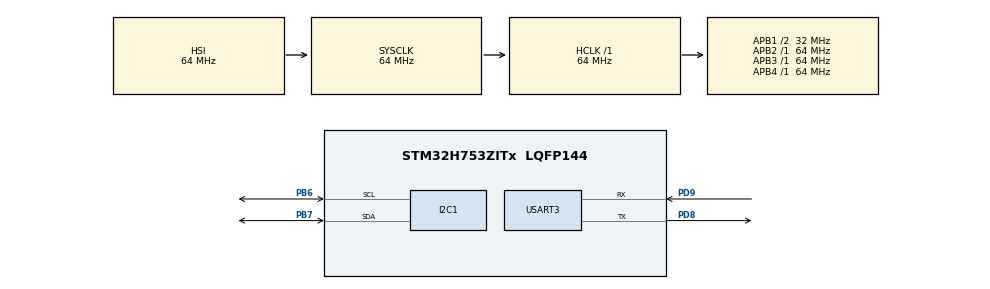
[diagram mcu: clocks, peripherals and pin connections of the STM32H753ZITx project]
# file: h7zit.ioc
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CORTEX_M7.AccessPermission_S-Cortex_Memory_Protection_Unit_Region1_Settings_S=MPU_REGION_FULL_ACCESS
CORTEX_M7.BaseAddress_S-Cortex_Memory_Protection_Unit_Region1_Settings_S=0x30001000
CORTEX_M7.CPU_DCache=Enabled
CORTEX_M7.CPU_ICache=Enabled
CORTEX_M7.DisableExec_S-Cortex_Memory_Protection_Unit_Region1_Settings_S=MPU_INSTRUCTION_ACCESS_DISABLE
CORTEX_M7.Enable_S-Cortex_Memory_Protection_Unit_Region1_Settings_S=MPU_REGION_ENABLE
CORTEX_M7.IsShareable_S-Cortex_Memory_Protection_Unit_Region1_Settings_S=MPU_ACCESS_SHAREABLE
CORTEX_M7.default_mode_Activation=1
Dma.I2C1_RX.0.Direction=DMA_PERIPH_TO_MEMORY
Dma.I2C1_RX.0.EventEnable=DISABLE
Dma.I2C1_RX.0.FIFOMode=DMA_FIFOMODE_DISABLE
Dma.I2C1_RX.0.Instance=DMA1_Stream0
Dma.I2C1_RX.0.MemDataAlignment=DMA_MDATAALIGN_BYTE
Dma.I2C1_RX.0.MemInc=DMA_MINC_ENABLE
Dma.I2C1_RX.0.Mode=DMA_NORMAL
Dma.I2C1_RX.0.PeriphDataAlignment=DMA_PDATAALIGN_BYTE
Dma.I2C1_RX.0.PeriphInc=DMA_PINC_DISABLE
Dma.I2C1_RX.0.Polarity=HAL_DMAMUX_REQ_GEN_RISING
Dma.I2C1_RX.0.Priority=DMA_PRIORITY_LOW
Dma.I2C1_RX.0.RequestNumber=1
Dma.I2C1_RX.0.SignalID=NONE
Dma.I2C1_RX.0.SyncEnable=DISABLE
Dma.I2C1_RX.0.SyncPolarity=HAL_DMAMUX_SYNC_NO_EVENT
Dma.I2C1_RX.0.SyncRequestNumber=1
Dma.I2C1_RX.0.SyncSignalID=NONE
Dma.I2C1_TX.1.Direction=DMA_MEMORY_TO_PERIPH
Dma.I2C1_TX.1.EventEnable=DISABLE
Dma.I2C1_TX.1.FIFOMode=DMA_FIFOMODE_DISABLE
Dma.I2C1_TX.1.Instance=DMA1_Stream1
Dma.I2C1_TX.1.MemDataAlignment=DMA_MDATAALIGN_BYTE
Dma.I2C1_TX.1.MemInc=DMA_MINC_ENABLE
Dma.I2C1_TX.1.Mode=DMA_NORMAL
Dma.I2C1_TX.1.PeriphDataAlignment=DMA_PDATAALIGN_BYTE
Dma.I2C1_TX.1.PeriphInc=DMA_PINC_DISABLE
Dma.I2C1_TX.1.Polarity=HAL_DMAMUX_REQ_GEN_RISING
Dma.I2C1_TX.1.Priority=DMA_PRIORITY_LOW
Dma.I2C1_TX.1.RequestNumber=1
Dma.I2C1_TX.1.SignalID=NONE
Dma.I2C1_TX.1.SyncEnable=DISABLE
Dma.I2C1_TX.1.SyncPolarity=HAL_DMAMUX_SYNC_NO_EVENT
Dma.I2C1_TX.1.SyncRequestNumber=1
Dma.I2C1_TX.1.SyncSignalID=NONE
Dma.Request0=I2C1_RX
Dma.Request1=I2C1_TX
I2C1.Timing=0x00707CBB
Mcu.Family=STM32H7
Mcu.Name=STM32H753ZITx
Mcu.Package=LQFP144
NVIC.DMA1_Stream0_IRQn=true\:0\:0\:false\:false\:true\:false\:true\:true
NVIC.DMA1_Stream1_IRQn=true\:0\:0\:false\:false\:true\:false\:true\:true
NVIC.I2C1_ER_IRQn=true\:0\:0\:false\:false\:true\:true\:true\:true
NVIC.I2C1_EV_IRQn=true\:0\:0\:false\:false\:true\:true\:true\:true
NVIC.PriorityGroup=NVIC_PRIORITYGROUP_4
PB6.GPIO_Pu=GPIO_PULLUP
PB6.Mode=I2C
PB6.Signal=I2C1_SCL
PB7.GPIO_Pu=GPIO_PULLUP
PB7.Mode=I2C
PB7.Signal=I2C1_SDA
PD8.Mode=Asynchronous
PD8.Signal=USART3_TX
PD9.Mode=Asynchronous
PD9.Signal=USART3_RX
ProjectManager.HeapSize=0x200
ProjectManager.StackSize=0x400
ProjectManager.TargetToolchain=CMake
RCC.ADCFreq_Value=129000000
RCC.APB1Freq_Value=32000000
RCC.APB2Freq_Value=64000000
RCC.APB3Freq_Value=64000000
RCC.APB4Freq_Value=64000000
RCC.CortexFreq_Value=64000000
RCC.D2PPRE1=RCC_APB1_DIV2
RCC.HCLKFreq_Value=64000000
RCC.SYSCLKFreq_VALUE=64000000
RCC.USBFreq_Value=129000000
USART3.VirtualMode-Asynchronous=VM_ASYNC
VP_MEMORYMAP_VS_MEMORYMAP.Mode=CurAppReg
board=custom

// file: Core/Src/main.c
/* USER CODE BEGIN Header */
/**
  ******************************************************************************
  * @file           : main.c
  * @brief          : Main program body
  ******************************************************************************
  * @attention
  *
  * Copyright (c) 2026 STMicroelectronics.
  * All rights reserved.
  *
  * This software is licensed under terms that can be found in the LICENSE file
  * in the root directory of this software component.
  * If no LICENSE file comes with this software, it is provided AS-IS.
  *
  ******************************************************************************
  */
/* USER CODE END Header */
#include "main.h"

/* USER CODE BEGIN Includes */
#include <stdio.h>
/* USER CODE END Includes */

/* USER CODE BEGIN PD */
#define MCP9600_ADDR                (0x60 << 1)
#define MCP9600_REG_HOT_JUNCTION    0x00
#define MCP9600_REG_SENSOR_CONFIG   0x05

//thermocouple types
#define MCP9600_TYPE_K  (0x00 << 1)
#define MCP9600_TYPE_J  (0x01 << 1)
#define MCP9600_TYPE_T  (0x02 << 1)
#define MCP9600_TYPE_N  (0x03 << 1)
#define MCP9600_TYPE_S  (0x04 << 1)
#define MCP9600_TYPE_E  (0x05 << 1)
#define MCP9600_TYPE_B  (0x06 << 1)
#define MCP9600_TYPE_R  (0x07 << 1)
/* USER CODE END PD */

I2C_HandleTypeDef hi2c1;
DMA_HandleTypeDef hdma_i2c1_rx;
DMA_HandleTypeDef hdma_i2c1_tx;

UART_HandleTypeDef huart3;

/* USER CODE BEGIN PV */
[[gnu::section(".I2C_RAW")]]  uint32_t rx_data;   // Reserves 32 bits for rx_data
volatile uint8_t              dma_done = 0;       // Initializes dma_done to 0 (false)
/* USER CODE END PV */

void SystemClock_Config(void);
static void MPU_Config(void);
static void MX_GPIO_Init(void);
static void MX_DMA_Init(void);
static void MX_I2C1_Init(void);
static void MX_USART3_UART_Init(void);

int main(void)
{

  /* MPU Configuration--------------------------------------------------------*/
  MPU_Config();

  /* Enable the CPU Cache */

  /* Enable I-Cache---------------------------------------------------------*/
  SCB_EnableICache();

  /* Enable D-Cache---------------------------------------------------------*/
  SCB_EnableDCache();

  /* MCU Configuration--------------------------------------------------------*/

  /* Reset of all peripherals, Initializes the Flash interface and the Systick. */
  HAL_Init();

  /* Configure the system clock */
  SystemClock_Config();

  /* Initialize all configured peripherals */
  MX_GPIO_Init();
  MX_DMA_Init();
  MX_I2C1_Init();
  MX_USART3_UART_Init();
  /* USER CODE BEGIN 2 */
  HAL_StatusTypeDef status;
  uint8_t sensor_cfg[2]       = { MCP9600_REG_SENSOR_CONFIG, MCP9600_TYPE_T };
  // USER CODE DEBUG
  // Checks I2C transmit status
  HAL_StatusTypeDef tx_status = HAL_I2C_Master_Transmit(&hi2c1, MCP9600_ADDR, sensor_cfg, 2, HAL_MAX_DELAY);
  printf("TX status: %d\r\n", tx_status);           // 0=OK, 1=ERROR, 2=BUSY, 3=TIMEOUT
  // Checks DMA status
  HAL_StatusTypeDef dma_status = HAL_I2C_Mem_Read_DMA(&hi2c1, MCP9600_ADDR, MCP9600_REG_HOT_JUNCTION,
                                           I2C_MEMADD_SIZE_8BIT, (uint8_t*) &rx_data, 2);
  printf("DMA start status: %d\r\n", dma_status);   // 0=OK, 1=ERROR, 2=BUSY, 3=TIMEOUT

  /* USER CODE END 2 */

  /* Infinite loop */
  /* USER CODE BEGIN WHILE */
  while (1){
    if (dma_done){
      dma_done = 0;
      SCB_InvalidateDCache_by_Addr((uint32_t*)&rx_data, sizeof(rx_data));
      uint8_t* byte_data = (uint8_t*) &rx_data;

      int16_t raw = (int16_t)((byte_data[0] << 8) | byte_data[1]);
      int abs_raw = (raw < 0) ? -raw : raw;
      const char *sign = (raw < 0) ? "-" : "";
      int whole = abs_raw >> 4;
      int frac  = (abs_raw & 0x0F) * 625;

      printf("Temp: %s%d.%04d C\r\n", sign, whole, frac);

      HAL_Delay(1000);

      status = HAL_I2C_Mem_Read_DMA(&hi2c1, MCP9600_ADDR, MCP9600_REG_HOT_JUNCTION,
      I2C_MEMADD_SIZE_8BIT, (uint8_t*) &rx_data, 2);
    }
    else
    {
      printf("Waiting for DMA...\r\n");
      if (status != HAL_OK)
      {
        printf("HAL STATUS: %d", status);
      }
    }
    /* USER CODE END WHILE */

  }
}

void SystemClock_Config(void)
{
  RCC_OscInitTypeDef RCC_OscInitStruct = {0};
  RCC_ClkInitTypeDef RCC_ClkInitStruct = {0};

  /** Supply configuration update enable
  */
  HAL_PWREx_ConfigSupply(PWR_LDO_SUPPLY);

  /** Configure the main internal regulator output voltage
  */
  __HAL_PWR_VOLTAGESCALING_CONFIG(PWR_REGULATOR_VOLTAGE_SCALE3);

  while(!__HAL_PWR_GET_FLAG(PWR_FLAG_VOSRDY)) {}

  /** Initializes the RCC Oscillators according to the specified parameters
  * in the RCC_OscInitTypeDef structure.
  */
  RCC_OscInitStruct.OscillatorType = RCC_OSCILLATORTYPE_HSI;
  RCC_OscInitStruct.HSIState = RCC_HSI_DIV1;
  RCC_OscInitStruct.HSICalibrationValue = RCC_HSICALIBRATION_DEFAULT;
  RCC_OscInitStruct.PLL.PLLState = RCC_PLL_NONE;
  if (HAL_RCC_OscConfig(&RCC_OscInitStruct) != HAL_OK)
  {
    Error_Handler();
  }

  /** Initializes the CPU, AHB and APB buses clocks
  */
  RCC_ClkInitStruct.ClockType = RCC_CLOCKTYPE_HCLK|RCC_CLOCKTYPE_SYSCLK
                              |RCC_CLOCKTYPE_PCLK1|RCC_CLOCKTYPE_PCLK2
                              |RCC_CLOCKTYPE_D3PCLK1|RCC_CLOCKTYPE_D1PCLK1;
  RCC_ClkInitStruct.SYSCLKSource = RCC_SYSCLKSOURCE_HSI;
  RCC_ClkInitStruct.SYSCLKDivider = RCC_SYSCLK_DIV1;
  RCC_ClkInitStruct.AHBCLKDivider = RCC_HCLK_DIV1;
  RCC_ClkInitStruct.APB3CLKDivider = RCC_APB3_DIV1;
  RCC_ClkInitStruct.APB1CLKDivider = RCC_APB1_DIV2;
  RCC_ClkInitStruct.APB2CLKDivider = RCC_APB2_DIV1;
  RCC_ClkInitStruct.APB4CLKDivider = RCC_APB4_DIV1;

  if (HAL_RCC_ClockConfig(&RCC_ClkInitStruct, FLASH_LATENCY_1) != HAL_OK)
  {
    Error_Handler();
  }
}

static void MX_I2C1_Init(void)
{

  hi2c1.Instance = I2C1;
  hi2c1.Init.Timing = 0x00707CBB;
  hi2c1.Init.OwnAddress1 = 0;
  hi2c1.Init.AddressingMode = I2C_ADDRESSINGMODE_7BIT;
  hi2c1.Init.DualAddressMode = I2C_DUALADDRESS_DISABLE;
  hi2c1.Init.OwnAddress2 = 0;
  hi2c1.Init.OwnAddress2Masks = I2C_OA2_NOMASK;
  hi2c1.Init.GeneralCallMode = I2C_GENERALCALL_DISABLE;
  hi2c1.Init.NoStretchMode = I2C_NOSTRETCH_DISABLE;
  if (HAL_I2C_Init(&hi2c1) != HAL_OK)
  {
    Error_Handler();
  }

  /** Configure Analogue filter
  */
  if (HAL_I2CEx_ConfigAnalogFilter(&hi2c1, I2C_ANALOGFILTER_ENABLE) != HAL_OK)
  {
    Error_Handler();
  }

  /** Configure Digital filter
  */
  if (HAL_I2CEx_ConfigDigitalFilter(&hi2c1, 0) != HAL_OK)
  {
    Error_Handler();
  }

}

static void MX_USART3_UART_Init(void)
{

  huart3.Instance = USART3;
  huart3.Init.BaudRate = 115200;
  huart3.Init.WordLength = UART_WORDLENGTH_8B;
  huart3.Init.StopBits = UART_STOPBITS_1;
  huart3.Init.Parity = UART_PARITY_NONE;
  huart3.Init.Mode = UART_MODE_TX_RX;
  huart3.Init.HwFlowCtl = UART_HWCONTROL_NONE;
  huart3.Init.OverSampling = UART_OVERSAMPLING_16;
  huart3.Init.OneBitSampling = UART_ONE_BIT_SAMPLE_DISABLE;
  huart3.Init.ClockPrescaler = UART_PRESCALER_DIV1;
  huart3.AdvancedInit.AdvFeatureInit = UART_ADVFEATURE_NO_INIT;
  if (HAL_UART_Init(&huart3) != HAL_OK)
  {
    Error_Handler();
  }
  if (HAL_UARTEx_SetTxFifoThreshold(&huart3, UART_TXFIFO_THRESHOLD_1_8) != HAL_OK)
  {
    Error_Handler();
  }
  if (HAL_UARTEx_SetRxFifoThreshold(&huart3, UART_RXFIFO_THRESHOLD_1_8) != HAL_OK)
  {
    Error_Handler();
  }
  if (HAL_UARTEx_DisableFifoMode(&huart3) != HAL_OK)
  {
    Error_Handler();
  }

}

static void MX_DMA_Init(void)
{

  /* DMA controller clock enable */
  __HAL_RCC_DMA1_CLK_ENABLE();

  /* DMA interrupt init */
  /* DMA1_Stream0_IRQn interrupt configuration */
  HAL_NVIC_SetPriority(DMA1_Stream0_IRQn, 0, 0);
  HAL_NVIC_EnableIRQ(DMA1_Stream0_IRQn);
  /* DMA1_Stream1_IRQn interrupt configuration */
  HAL_NVIC_SetPriority(DMA1_Stream1_IRQn, 0, 0);
  HAL_NVIC_EnableIRQ(DMA1_Stream1_IRQn);

}

static void MX_GPIO_Init(void)
{

  /* GPIO Ports Clock Enable */
  __HAL_RCC_GPIOD_CLK_ENABLE();
  __HAL_RCC_GPIOB_CLK_ENABLE();

}

/* USER CODE BEGIN 4 */
int __io_putchar(int ch)
{
  HAL_UART_Transmit(&huart3, (uint8_t*)&ch, 1, HAL_MAX_DELAY);
  return ch;
}

void HAL_I2C_MemRxCpltCallback(I2C_HandleTypeDef *hi2c)
{
  if (hi2c->Instance == I2C1)
  {
    dma_done = 1;
  }
}
/* USER CODE END 4 */

 /* MPU Configuration */

void MPU_Config(void)
{
  MPU_Region_InitTypeDef MPU_InitStruct = {0};

  /* Disables the MPU */
  HAL_MPU_Disable();

  /** Initializes and configures the Region and the memory to be protected
  */
  MPU_InitStruct.Enable = MPU_REGION_ENABLE;
  MPU_InitStruct.Number = MPU_REGION_NUMBER0;
  MPU_InitStruct.BaseAddress = 0x0;
  MPU_InitStruct.Size = MPU_REGION_SIZE_4GB;
  MPU_InitStruct.SubRegionDisable = 0x87;
  MPU_InitStruct.TypeExtField = MPU_TEX_LEVEL0;
  MPU_InitStruct.AccessPermission = MPU_REGION_NO_ACCESS;
  MPU_InitStruct.DisableExec = MPU_INSTRUCTION_ACCESS_DISABLE;
  MPU_InitStruct.IsShareable = MPU_ACCESS_SHAREABLE;
  MPU_InitStruct.IsCacheable = MPU_ACCESS_NOT_CACHEABLE;
  MPU_InitStruct.IsBufferable = MPU_ACCESS_NOT_BUFFERABLE;

  HAL_MPU_ConfigRegion(&MPU_InitStruct);

  /** Initializes and configures the Region and the memory to be protected
  */
  MPU_InitStruct.Number = MPU_REGION_NUMBER1;
  MPU_InitStruct.BaseAddress = 0x30001000;
  MPU_InitStruct.Size = MPU_REGION_SIZE_32B;
  MPU_InitStruct.SubRegionDisable = 0x0;
  MPU_InitStruct.AccessPermission = MPU_REGION_FULL_ACCESS;

  HAL_MPU_ConfigRegion(&MPU_InitStruct);
  /* Enables the MPU */
  HAL_MPU_Enable(MPU_PRIVILEGED_DEFAULT);

}

void Error_Handler(void)
{
  /* USER CODE BEGIN Error_Handler_Debug */
        /* User can add his own implementation to report the HAL error return state */
        __disable_irq();
        printf("Threw error");
        while (1)
        {
        }
  /* USER CODE END Error_Handler_Debug */
}
